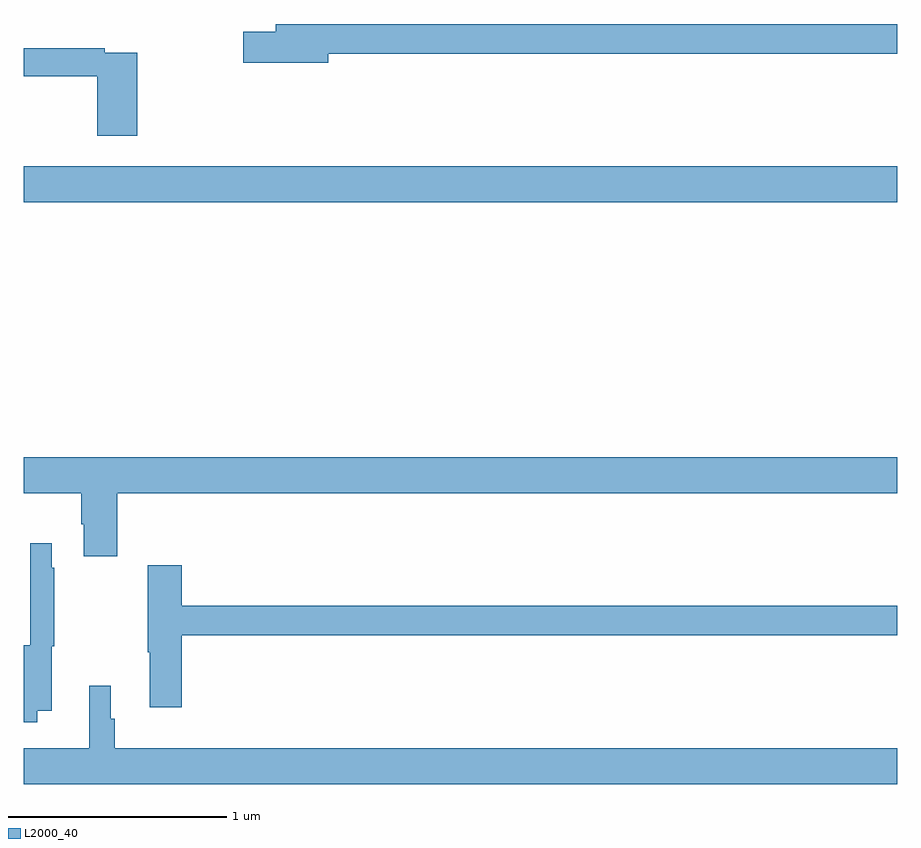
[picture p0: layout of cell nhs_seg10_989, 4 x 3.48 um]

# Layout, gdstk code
import gdstk
lib = gdstk.Library(unit=1e-6, precision=1e-09)
def R(c, l, rs):  # rectangles x0, y0, x1, y1
    for r in rs: c.add(gdstk.rectangle(r[:2], r[2:], *l))
def P(c, l, *ps):  # polygons
    for p in ps: c.add(gdstk.Polygon(p, *l))
L2000_40 = (2000, 40)

nhs_seg10_989 = lib.new_cell('nhs_seg10_989')
R(nhs_seg10_989, L2000_40, [(161,1301.648,165,1301.812)])
P(nhs_seg10_989, L2000_40, [(162.394,1302.328),(165,1302.328),(165,1302.464),(162.155,1302.464),(162.155,1302.428),(162.006,1302.428),(162.006,1302.286),(162.394,1302.286)],
  [(161.519,1302.333),(161.372,1302.333),(161.372,1302.353),(161,1302.353),(161,1302.225),(161.336,1302.225),(161.336,1301.952),(161.519,1301.952)],
  [(161.429,1300.316),(165,1300.316),(165,1300.48),(161,1300.48),(161,1300.316),(161.264,1300.316),(161.264,1300.174),(161.276,1300.174),(161.276,1300.026),(161.429,1300.026)],
  [(161.062,1299.32),(161.128,1299.32),(161.128,1299.615),(161.14,1299.615),(161.14,1299.974),(161.128,1299.974),(161.128,1300.087),(161.031,1300.087),(161.031,1299.619),(161,1299.619),(161,1299.267),(161.062,1299.267)],
  [(161.723,1299.664),(165,1299.664),(165,1299.8),(161.723,1299.8),(161.723,1299.985),(161.569,1299.985),(161.569,1299.587),(161.576,1299.587),(161.576,1299.336),(161.723,1299.336)],
  [(165,1299.148),(161.417,1299.148),(161.417,1299.282),(161.398,1299.282),(161.398,1299.433),(161.299,1299.433),(161.299,1299.148),(161,1299.148),(161,1298.984),(165,1298.984)])

lib.write_gds('nhs_seg10_989.gds')
